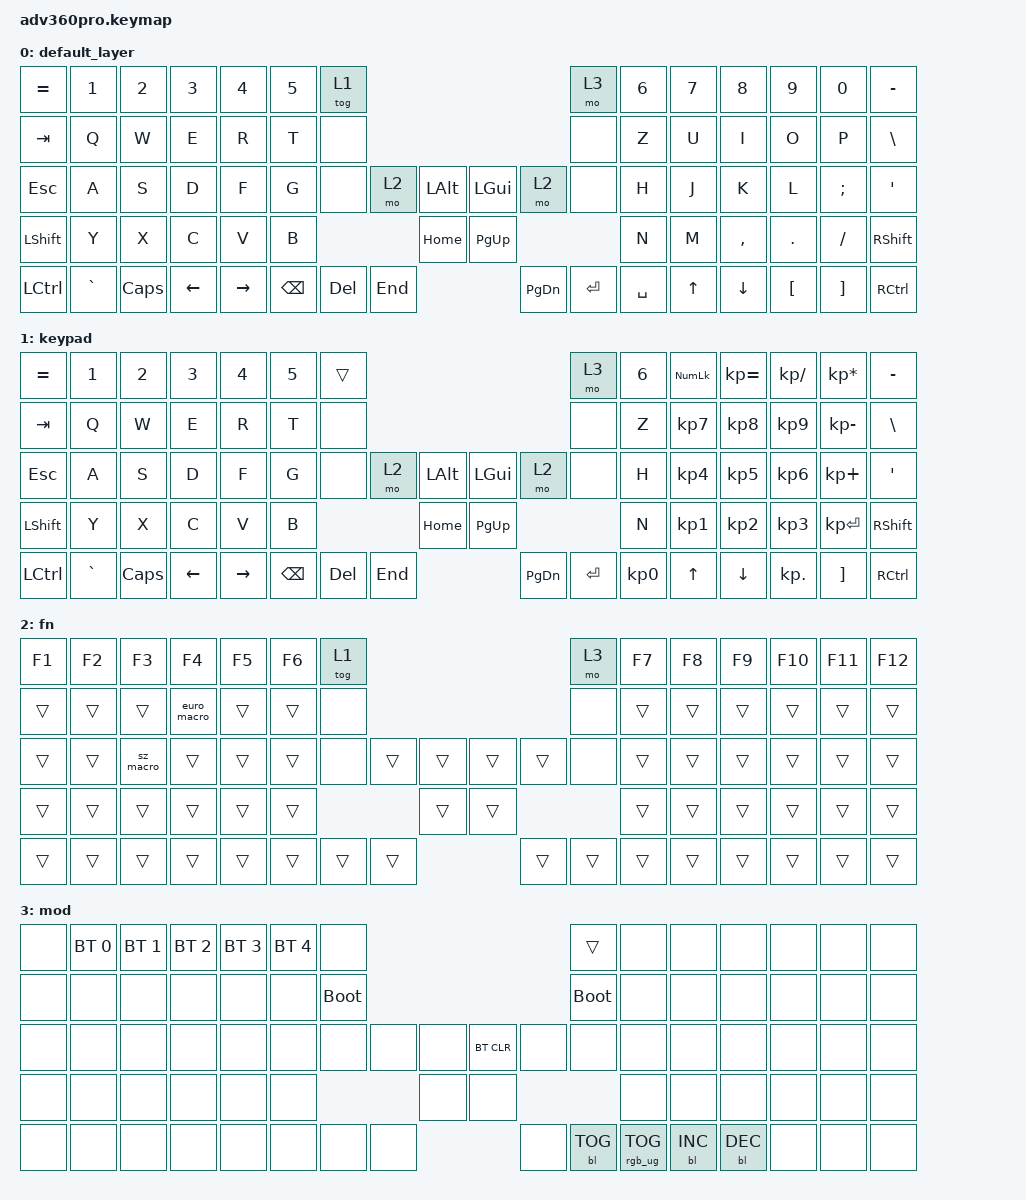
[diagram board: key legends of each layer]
#include <behaviors.dtsi>
#include <dt-bindings/zmk/backlight.h>
#include <dt-bindings/zmk/bt.h>
#include <dt-bindings/zmk/keys.h>
#include <dt-bindings/zmk/rgb.h>

/ {
    macros {
        sz_macro: sz_macro {
            compatible = "zmk,behavior-macro";
            #binding-cells = <0>;
            bindings = <&kp LS(LC(U)) &kp KP_NUMBER_0 &kp KP_NUMBER_0 &kp D &kp F>;
            label = "SZ_MACRO";
        };

        euro_macro: euro_macro {
            compatible = "zmk,behavior-macro";
            #binding-cells = <0>;
            bindings = <&kp LC(LS(U)) &kp NUMBER_2 &kp KP_NUMBER_0 &kp A &kp C>;
            label = "EURO_MACRO";
        };
    };

    keymap {
        compatible = "zmk,keymap";

        default_layer {
            bindings = <
&kp EQUAL  &kp N1     &kp N2    &kp N3    &kp N4     &kp N5  &tog 1                                                                  &mo 3  &kp N6  &kp N7  &kp N8     &kp N9    &kp N0         &kp MINUS
&kp TAB    &kp Q      &kp W     &kp E     &kp R      &kp T   &none                                                                   &none  &kp Z   &kp U   &kp I      &kp O     &kp P          &kp BSLH
&kp ESC    &kp A      &kp S     &kp D     &kp F      &kp G   &none             &mo 2    &kp LALT    &kp LGUI   &mo 2                 &none  &kp H   &kp J   &kp K      &kp L     &kp SEMICOLON  &kp SQT
&kp LSHFT  &kp Y      &kp X     &kp C     &kp V      &kp B                              &kp HOME    &kp PG_UP                               &kp N   &kp M   &kp COMMA  &kp DOT   &kp FSLH       &kp RSHFT
&kp LCTRL  &kp GRAVE  &kp CAPS  &kp LEFT  &kp RIGHT                  &kp BSPC  &kp DEL  &kp END     &kp PG_DN  &kp ENTER  &kp SPACE                 &kp UP  &kp DOWN   &kp LBKT  &kp RBKT       &kp RCTRL
            >;
        };

        keypad {
            bindings = <
&kp EQUAL  &kp N1     &kp N2    &kp N3    &kp N4     &kp N5  &trans                                                                  &mo 3  &kp N6  &kp KP_NUM  &kp KP_EQUAL  &kp KP_DIVIDE  &kp KP_MULTIPLY  &kp MINUS
&kp TAB    &kp Q      &kp W     &kp E     &kp R      &kp T   &none                                                                   &none  &kp Z   &kp KP_N7   &kp KP_N8     &kp KP_N9      &kp KP_MINUS     &kp BSLH
&kp ESC    &kp A      &kp S     &kp D     &kp F      &kp G   &none             &mo 2    &kp LALT    &kp LGUI   &mo 2                 &none  &kp H   &kp KP_N4   &kp KP_N5     &kp KP_N6      &kp KP_PLUS      &kp SQT
&kp LSHFT  &kp Y      &kp X     &kp C     &kp V      &kp B                              &kp HOME    &kp PG_UP                               &kp N   &kp KP_N1   &kp KP_N2     &kp KP_N3      &kp KP_ENTER     &kp RSHFT
&kp LCTRL  &kp GRAVE  &kp CAPS  &kp LEFT  &kp RIGHT                  &kp BSPC  &kp DEL  &kp END     &kp PG_DN  &kp ENTER  &kp KP_N0                 &kp UP      &kp DOWN      &kp KP_DOT     &kp RBKT         &kp RCTRL
            >;
        };

        fn {
            bindings = <
&kp F1  &kp F2  &kp F3     &kp F4       &kp F5  &kp F6  &tog 1                                                    &mo 3  &kp F7  &kp F8  &kp F9  &kp F10  &kp F11  &kp F12
&trans  &trans  &trans     &euro_macro  &trans  &trans  &none                                                     &none  &trans  &trans  &trans  &trans   &trans   &trans
&trans  &trans  &sz_macro  &trans       &trans  &trans  &none           &trans  &trans    &trans  &trans          &none  &trans  &trans  &trans  &trans   &trans   &trans
&trans  &trans  &trans     &trans       &trans  &trans                          &trans    &trans                         &trans  &trans  &trans  &trans   &trans   &trans
&trans  &trans  &trans     &trans       &trans                  &trans  &trans  &trans    &trans  &trans  &trans                 &trans  &trans  &trans   &trans   &trans
            >;
        };

        mod {
            bindings = <
&none  &bt BT_SEL 0  &bt BT_SEL 1  &bt BT_SEL 2  &bt BT_SEL 3  &bt BT_SEL 4  &none                                                                        &trans       &none  &none       &none       &none  &none  &none
&none  &none         &none         &none         &none         &none         &bootloader                                                                  &bootloader  &none  &none       &none       &none  &none  &none
&none  &none         &none         &none         &none         &none         &none               &none  &none    &bt BT_CLR  &none                        &none        &none  &none       &none       &none  &none  &none
&none  &none         &none         &none         &none         &none                                    &none    &none                                                 &none  &none       &none       &none  &none  &none
&none  &none         &none         &none         &none                                    &none  &none  &none    &none       &bl BL_TOG  &rgb_ug RGB_TOG                      &bl BL_INC  &bl BL_DEC  &none  &none  &none
            >;
        };
    };
};
